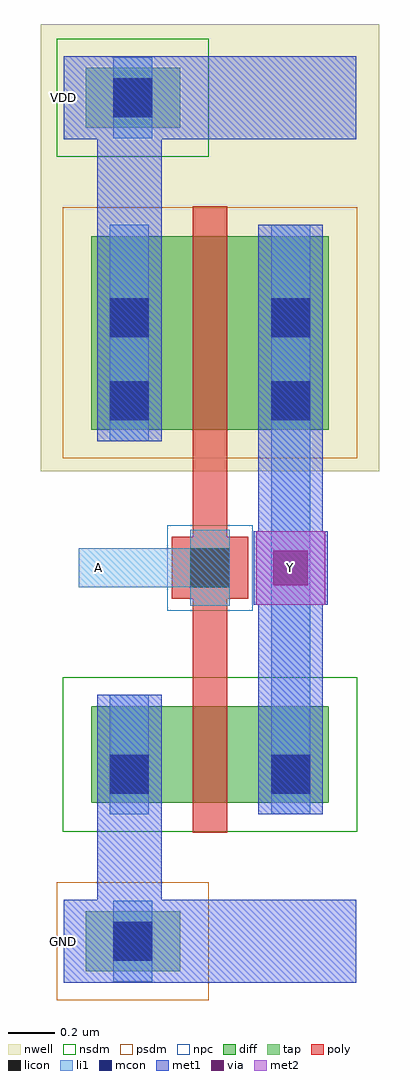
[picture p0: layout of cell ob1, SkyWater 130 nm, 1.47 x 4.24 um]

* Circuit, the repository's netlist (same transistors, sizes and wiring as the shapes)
* NGSPICE file created from ob1.ext - technology: sky130A

.subckt ob1 A Y VDD GND
X0 Y A GND GND sky130_fd_pr__nfet_01v8 ad=0.1848 pd=1.72 as=0.1848 ps=1.72 w=0.42 l=0.15
X1 Y A VDD VDD sky130_fd_pr__pfet_01v8 ad=0.3696 pd=2.56 as=0.3696 ps=2.56 w=0.84 l=0.15
.ends

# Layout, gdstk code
import gdstk
lib = gdstk.Library(unit=1e-6, precision=1e-09)
def R(c, l, rs):  # rectangles x0, y0, x1, y1
    for r in rs: c.add(gdstk.rectangle(r[:2], r[2:], *l))
nwell = (64, 20)
diff = (65, 20)
tap = (65, 44)
poly = (66, 20)
licon = (66, 44)
li1 = (67, 20)
mcon = (67, 44)
met1 = (68, 20)
via = (68, 44)
met2 = (69, 20)
nsdm = (93, 44)
psdm = (94, 20)
npc = (95, 20)

ob1 = lib.new_cell('ob1')
R(ob1, nwell, [(0,2.04,1.47,3.98)])
R(ob1, diff, [(0.22,0.6,1.25,1.02), (0.22,2.22,1.25,3.06)])
R(ob1, tap, [(0.195,-0.13,0.605,0.13), (0.195,3.53,0.605,3.79)])
R(ob1, poly, [(0.66,0.47,0.81,1.485), (0.57,1.485,0.9,1.755), (0.66,1.755,0.81,3.19)])
R(ob1, licon, [(0.315,-0.085,0.485,0.085), (0.3,0.64,0.47,0.81), (1,0.64,1.17,0.81), (0.65,1.535,0.82,1.705), (0.3,2.26,0.47,2.43), (1,2.26,1.17,2.43), (0.3,2.62,0.47,2.79), (1,2.62,1.17,2.79), (0.315,3.575,0.485,3.745)])
R(ob1, li1, [(0.315,-0.175,0.485,0.175), (0.3,0.55,0.47,1.07), (1,0.55,1.17,3.11), (0.65,1.455,0.82,1.535), (0.165,1.535,0.82,1.705), (0.65,1.705,0.82,1.785), (0.3,2.17,0.47,3.11), (0.315,3.485,0.485,3.835)])
R(ob1, mcon, [(0.315,-0.085,0.485,0.085), (0.3,0.64,0.47,0.81), (1,0.64,1.17,0.81), (0.3,2.26,0.47,2.43), (1,2.26,1.17,2.43), (0.3,2.62,0.47,2.79), (1,2.62,1.17,2.79), (0.315,3.575,0.485,3.745)])
R(ob1, met1, [(0.1,-0.18,1.37,0.18), (0.245,0.18,0.525,1.07), (0.945,0.55,1.225,1.46), (0.925,1.46,1.245,1.78), (0.945,1.78,1.225,3.11), (0.245,2.17,0.525,3.48), (0.1,3.48,1.37,3.84)])
R(ob1, via, [(1.01,1.545,1.16,1.695)])
R(ob1, met2, [(0.935,1.46,1.235,1.78)])
R(ob1, nsdm, [(0.095,0.475,1.375,1.145), (0.07,3.405,0.73,3.915)])
R(ob1, psdm, [(0.07,-0.255,0.73,0.255), (0.095,2.095,1.375,3.185)])
R(ob1, npc, [(0.55,1.435,0.92,1.805)])
ob1.add(gdstk.Label('A', (0.25,1.62), layer=67, texttype=5))
ob1.add(gdstk.Label('Y', (1.085,1.62), layer=69, texttype=5))
ob1.add(gdstk.Label('VDD', (0.1,3.66), layer=68, texttype=5))
ob1.add(gdstk.Label('GND', (0.1,0), layer=68, texttype=5))

lib.write_gds('ob1.gds')
